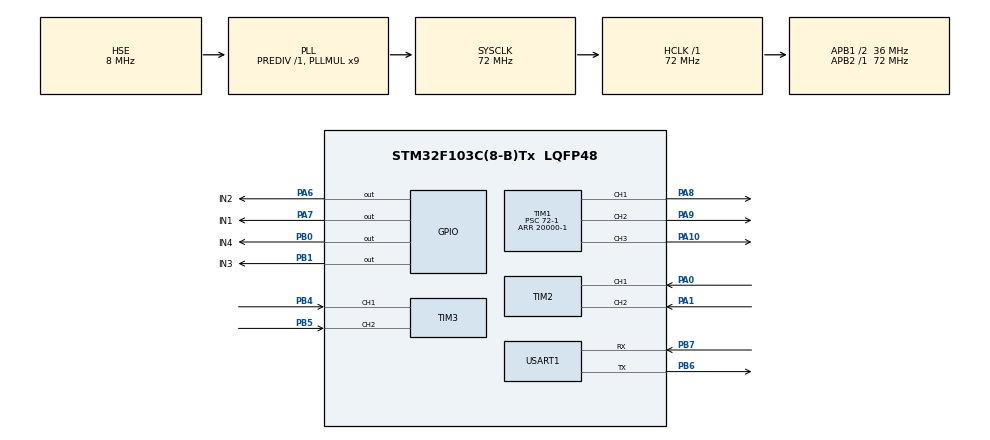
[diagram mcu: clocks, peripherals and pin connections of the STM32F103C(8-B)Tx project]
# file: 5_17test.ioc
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Mcu.Family=STM32F1
Mcu.Name=STM32F103C(8-B)Tx
Mcu.Package=LQFP48
NVIC.PriorityGroup=NVIC_PRIORITYGROUP_4
NVIC.TIM4_IRQn=true\:1\:0\:true\:false\:true\:true\:true\:true
PA0-WKUP.Signal=S_TIM2_CH1_ETR
PA1.Signal=S_TIM2_CH2
PA10.Signal=S_TIM1_CH3
PA13.Mode=Serial_Wire
PA13.Signal=SYS_JTMS-SWDIO
PA14.Mode=Serial_Wire
PA14.Signal=SYS_JTCK-SWCLK
PA6.GPIO_Label=IN2
PA6.PinState=GPIO_PIN_RESET
PA6.Signal=GPIO_Output
PA7.GPIO_Label=IN1
PA7.GPIO_Speed=GPIO_SPEED_FREQ_HIGH
PA7.PinState=GPIO_PIN_SET
PA7.Signal=GPIO_Output
PA8.Signal=S_TIM1_CH1
PA9.Signal=S_TIM1_CH2
PB0.GPIO_Label=IN4
PB0.GPIO_Speed=GPIO_SPEED_FREQ_HIGH
PB0.PinState=GPIO_PIN_RESET
PB0.Signal=GPIO_Output
PB1.GPIO_Label=IN3
PB1.GPIO_Speed=GPIO_SPEED_FREQ_HIGH
PB1.PinState=GPIO_PIN_SET
PB1.Signal=GPIO_Output
PB4.Signal=S_TIM3_CH1
PB5.Signal=S_TIM3_CH2
PB6.Mode=Asynchronous
PB6.Signal=USART1_TX
PB7.Mode=Asynchronous
PB7.Signal=USART1_RX
PD0-OSC_IN.Mode=HSE-External-Oscillator
PD0-OSC_IN.Signal=RCC_OSC_IN
PD1-OSC_OUT.Mode=HSE-External-Oscillator
PD1-OSC_OUT.Signal=RCC_OSC_OUT
ProjectManager.HeapSize=0x200
ProjectManager.StackSize=0x400
ProjectManager.TargetToolchain=STM32CubeIDE
RCC.AHBFreq_Value=72000000
RCC.APB1CLKDivider=RCC_HCLK_DIV2
RCC.APB1Freq_Value=36000000
RCC.APB1TimFreq_Value=72000000
RCC.APB2Freq_Value=72000000
RCC.APB2TimFreq_Value=72000000
RCC.HCLKFreq_Value=72000000
RCC.PLLMUL=RCC_PLL_MUL9
RCC.PLLSourceVirtual=RCC_PLLSOURCE_HSE
RCC.SYSCLKFreq_VALUE=72000000
RCC.SYSCLKSource=RCC_SYSCLKSOURCE_PLLCLK
RCC.USBFreq_Value=72000000
SH.S_TIM1_CH1.0=TIM1_CH1,PWM Generation1 CH1
SH.S_TIM1_CH2.0=TIM1_CH2,PWM Generation2 CH2
SH.S_TIM1_CH3.0=TIM1_CH3,PWM Generation3 CH3
SH.S_TIM2_CH1_ETR.0=TIM2_CH1,Encoder_Interface
SH.S_TIM2_CH2.0=TIM2_CH2,Encoder_Interface
SH.S_TIM3_CH1.0=TIM3_CH1,Encoder_Interface
SH.S_TIM3_CH2.0=TIM3_CH2,Encoder_Interface
TIM1.AutoReloadPreload=TIM_AUTORELOAD_PRELOAD_ENABLE
TIM1.Channel-PWM\ Generation1\ CH1=TIM_CHANNEL_1
TIM1.Channel-PWM\ Generation2\ CH2=TIM_CHANNEL_2
TIM1.Channel-PWM\ Generation3\ CH3=TIM_CHANNEL_3
TIM1.Period=20000-1
TIM1.Prescaler=72-1
TIM1.Pulse-PWM\ Generation3\ CH3=0
TIM2.EncoderMode=TIM_ENCODERMODE_TI12
TIM2.TIM_MasterSlaveMode=TIM_MASTERSLAVEMODE_DISABLE
TIM3.EncoderMode=TIM_ENCODERMODE_TI12
TIM4.Period=10000-1
TIM4.Prescaler=72-1
USART1.VirtualMode=VM_ASYNC
VP_TIM1_VS_ClockSourceINT.Mode=Internal
VP_TIM1_VS_ClockSourceITR.Mode=TriggerSource_ITR0
VP_TIM4_VS_ClockSourceINT.Mode=Internal
board=custom

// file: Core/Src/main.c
/* USER CODE BEGIN Header */
/**
  ******************************************************************************
  * @file           : main.c
  * @brief          : Main program body
  ******************************************************************************
  * @attention
  *
  * Copyright (c) 2024 STMicroelectronics.
  * All rights reserved.
  *
  * This software is licensed under terms that can be found in the LICENSE file
  * in the root directory of this software component.
  * If no LICENSE file comes with this software, it is provided AS-IS.
  *
  ******************************************************************************
  */
/* USER CODE END Header */
#include "main.h"
#include "tim.h"
#include "usart.h"
#include "gpio.h"

void SystemClock_Config(void);

int main(void)
{
  /* USER CODE BEGIN 1 */
    uint32_t pwm_value = 10000;
    uint32_t degree = 500;
  /* USER CODE END 1 */

  /* MCU Configuration--------------------------------------------------------*/

  /* Reset of all peripherals, Initializes the Flash interface and the Systick. */
  HAL_Init();

  /* Configure the system clock */
  SystemClock_Config();

  /* Initialize all configured peripherals */
  MX_GPIO_Init();
  MX_TIM1_Init();
  MX_TIM2_Init();
  MX_TIM3_Init();
  MX_USART1_UART_Init();
  MX_TIM4_Init();
  /* USER CODE BEGIN 2 */

    HAL_TIM_Base_Start_IT(&htim3);
    HAL_TIM_PWM_Start(&htim1, TIM_CHANNEL_1);
    HAL_TIM_PWM_Start(&htim1, TIM_CHANNEL_2);
    HAL_TIM_PWM_Start(&htim1, TIM_CHANNEL_3);
    HAL_TIM_Encoder_Start(&htim2, TIM_CHANNEL_1);
    HAL_TIM_Encoder_Start(&htim2, TIM_CHANNEL_2);
    HAL_TIM_Encoder_Start(&htim3, TIM_CHANNEL_1);
    HAL_TIM_Encoder_Start(&htim3, TIM_CHANNEL_2);

    __HAL_TIM_ENABLE_IT(&htim2,TIM_IT_UPDATE);
    __HAL_TIM_ENABLE_IT(&htim3,TIM_IT_UPDATE);

    __HAL_TIM_SET_COUNTER(&htim2, 30000);
    __HAL_TIM_SET_COUNTER(&htim3, 30000);

  /* USER CODE END 2 */

  /* Infinite loop */
    while (1)
    {

    /* USER CODE BEGIN 3 */
    __HAL_TIM_SetCompare(&htim1,TIM_CHANNEL_3,1300);
    HAL_Delay(200);
    __HAL_TIM_SetCompare(&htim1,TIM_CHANNEL_1,20000);
    __HAL_TIM_SetCompare(&htim1,TIM_CHANNEL_2,20000);HAL_Delay(700);

    __HAL_TIM_SetCompare(&htim1,TIM_CHANNEL_3,1100);
    __HAL_TIM_SetCompare(&htim1,TIM_CHANNEL_1,20000);
    __HAL_TIM_SetCompare(&htim1,TIM_CHANNEL_2,20000);HAL_Delay(400);

    __HAL_TIM_SetCompare(&htim1,TIM_CHANNEL_3,1200);
    __HAL_TIM_SetCompare(&htim1,TIM_CHANNEL_1,20000);
    __HAL_TIM_SetCompare(&htim1,TIM_CHANNEL_2,20000);HAL_Delay(500);

    __HAL_TIM_SetCompare(&htim1,TIM_CHANNEL_3,800);
    __HAL_TIM_SetCompare(&htim1,TIM_CHANNEL_1,20000);
    __HAL_TIM_SetCompare(&htim1,TIM_CHANNEL_2,20000);HAL_Delay(500);

    __HAL_TIM_SetCompare(&htim1,TIM_CHANNEL_1,0);
    __HAL_TIM_SetCompare(&htim1,TIM_CHANNEL_2,0);HAL_Delay(1000000);
    }

  /* USER CODE END 3 */
}

void SystemClock_Config(void)
{
  RCC_OscInitTypeDef RCC_OscInitStruct = {0};
  RCC_ClkInitTypeDef RCC_ClkInitStruct = {0};

  /** Initializes the RCC Oscillators according to the specified parameters
  * in the RCC_OscInitTypeDef structure.
  */
  RCC_OscInitStruct.OscillatorType = RCC_OSCILLATORTYPE_HSE;
  RCC_OscInitStruct.HSEState = RCC_HSE_ON;
  RCC_OscInitStruct.HSEPredivValue = RCC_HSE_PREDIV_DIV1;
  RCC_OscInitStruct.HSIState = RCC_HSI_ON;
  RCC_OscInitStruct.PLL.PLLState = RCC_PLL_ON;
  RCC_OscInitStruct.PLL.PLLSource = RCC_PLLSOURCE_HSE;
  RCC_OscInitStruct.PLL.PLLMUL = RCC_PLL_MUL9;
  if (HAL_RCC_OscConfig(&RCC_OscInitStruct) != HAL_OK)
  {
    Error_Handler();
  }

  /** Initializes the CPU, AHB and APB buses clocks
  */
  RCC_ClkInitStruct.ClockType = RCC_CLOCKTYPE_HCLK|RCC_CLOCKTYPE_SYSCLK
                              |RCC_CLOCKTYPE_PCLK1|RCC_CLOCKTYPE_PCLK2;
  RCC_ClkInitStruct.SYSCLKSource = RCC_SYSCLKSOURCE_PLLCLK;
  RCC_ClkInitStruct.AHBCLKDivider = RCC_SYSCLK_DIV1;
  RCC_ClkInitStruct.APB1CLKDivider = RCC_HCLK_DIV2;
  RCC_ClkInitStruct.APB2CLKDivider = RCC_HCLK_DIV1;

  if (HAL_RCC_ClockConfig(&RCC_ClkInitStruct, FLASH_LATENCY_2) != HAL_OK)
  {
    Error_Handler();
  }
}

/* USER CODE BEGIN 4 */
//中断处理函数
void HAL_TIM_PeriodElapsedCallback(TIM_HandleTypeDef *htim)
{
    if(htim->Instance == TIM4)
    {
        __HAL_TIM_SET_COMPARE(&htim1,TIM_CHANNEL_1,20000);
        __HAL_TIM_SET_COMPARE(&htim1,TIM_CHANNEL_2,20000);
        __HAL_TIM_SET_COMPARE(&htim1,TIM_CHANNEL_3,20000);
    }
}

/* USER CODE END 4 */

void Error_Handler(void)
{
  __disable_irq();
  while (1)
  {
  }
}
